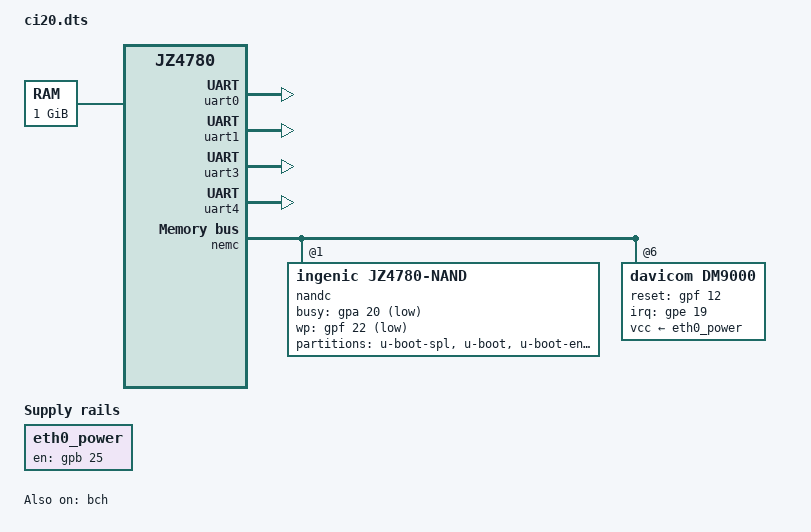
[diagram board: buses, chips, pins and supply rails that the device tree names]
/dts-v1/;

#include "jz4780.dtsi"
#include <dt-bindings/gpio/gpio.h>

/ {
	compatible = "img,ci20", "ingenic,jz4780";

	aliases {
		serial0 = &uart0;
		serial1 = &uart1;
		serial3 = &uart3;
		serial4 = &uart4;
	};

	chosen {
		stdout-path = &uart4;
	};

	memory {
		device_type = "memory";
		reg = <0x0 0x10000000
		       0x30000000 0x30000000>;
	};

	eth0_power: fixedregulator@0 {
		compatible = "regulator-fixed";
		regulator-name = "eth0_power";
		gpio = <&gpb 25 GPIO_ACTIVE_LOW>;
		enable-active-high;
	};
};

&ext {
	clock-frequency = <48000000>;
};

&uart0 {
	status = "okay";
};

&uart1 {
	status = "okay";
};

&uart3 {
	status = "okay";
};

&uart4 {
	status = "okay";
};

&nemc {
	status = "okay";

	pinctrl-names = "default";
	pinctrl-0 = <&pins_nemc_data &pins_nemc_cle_ale &pins_nemc_frd_fwe
		     &pins_nemc_rd_we &pins_nemc_cs1 &pins_nemc_cs6>;

	nandc: nand-controller@1 {
		compatible = "ingenic,jz4780-nand";
		reg = <1 0 0x1000000>;

		#address-cells = <1>;
		#size-cells = <0>;

		ingenic,busy-gpio = <&gpa 20 GPIO_ACTIVE_LOW>;
		ingenic,wp-gpio = <&gpf 22 GPIO_ACTIVE_LOW>;

		ingenic,bch-controller = <&bch>;

		ingenic,nemc-tAS = <10>;
		ingenic,nemc-tAH = <5>;
		ingenic,nemc-tBP = <10>;
		ingenic,nemc-tAW = <15>;
		ingenic,nemc-tSTRV = <100>;

		nand@1 {
			reg = <1>;

			nand-ecc-step-size = <1024>;
			nand-ecc-strength = <24>;
			nand-ecc-mode = "hw";
			nand-on-flash-bbt;

			partitions {
				compatible = "fixed-partitions";
				#address-cells = <2>;
				#size-cells = <2>;

				partition@0 {
					label = "u-boot-spl";
					reg = <0x0 0x0 0x0 0x800000>;
				};

				partition@0x800000 {
					label = "u-boot";
					reg = <0x0 0x800000 0x0 0x200000>;
				};

				partition@0xa00000 {
					label = "u-boot-env";
					reg = <0x0 0xa00000 0x0 0x200000>;
				};

				partition@0xc00000 {
					label = "boot";
					reg = <0x0 0xc00000 0x0 0x4000000>;
				};

				partition@0x8c00000 {
					label = "system";
					reg = <0x0 0x4c00000 0x1 0xfb400000>;
				};
			};
		};
	};

	dm9000@6 {
		compatible = "davicom,dm9000";
		davicom,no-eeprom;

		reg = <6 0x0 1   /* addr */
		       6 0x2 1>; /* data */

		ingenic,nemc-tAS = <15>;
		ingenic,nemc-tAH = <10>;
		ingenic,nemc-tBP = <20>;
		ingenic,nemc-tAW = <50>;
		ingenic,nemc-tSTRV = <100>;

		reset-gpios = <&gpf 12 GPIO_ACTIVE_HIGH>;
		vcc-supply = <&eth0_power>;

		interrupt-parent = <&gpe>;
		interrupts = <19 0x4>;
	};
};

&bch {
	status = "okay";
};
